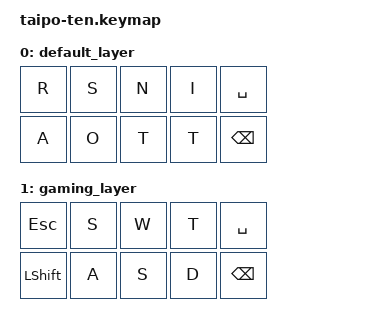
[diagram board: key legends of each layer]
#include <dt-bindings/zmk/keys.h>
#include <dt-bindings/zmk/bt.h>
#include <dt-bindings/zmk/outputs.h>
#include <dt-bindings/zmk/backlight.h>
#include <dt-bindings/zmk/behaviors.h>

/ {
    keymap {
        compatible = "zmk,keymap";

        default_layer {
            bindings = <
                &kp R       &kp S       &kp N       &kp I       &kp SPACE
                &kp A       &kp O       &kp T       &kp T       &kp BACKSPACE
            >;
        };

        gaming_layer {
            bindings = <
                &kp ESC     &kp S       &kp W       &kp T       &kp SPACE
                &kp LSHFT   &kp A       &kp S       &kp D       &kp BACKSPACE
            >;
        };
    };

    combos {
        compatible = "zmk,combos";

        // Alphas
        combo_a {
            bindings = <&kp A>;
            key-positions = <5>; // Position of 'a'
        };
        combo_b {
            bindings = <&kp B>;
            key-positions = <0 1>; // r + s
            #ifdef COMBO_HOLD_PRIORITY
            priority = COMBO_HOLD_PRIORITY; // Adjust if needed
            #endif
        };
        combo_c {
            bindings = <&kp C>;
            key-positions = <6 7>; // o + t (o + e from your description, assuming 't' is 'e')
            #ifdef COMBO_HOLD_PRIORITY
            priority = COMBO_HOLD_PRIORITY;
            #endif
        };
        combo_d {
            bindings = <&kp D>;
            key-positions = <5 7>; // a + t (a + e from your description, assuming 't' is 'e')
            #ifdef COMBO_HOLD_PRIORITY
            priority = COMBO_HOLD_PRIORITY;
            #endif
        };
        combo_e {
            bindings = <&kp E>;
            key-positions = <7>; // Position of 't' (e)
        };
        combo_f {
            bindings = <&kp F>;
            key-positions = <1 3>; // s + i
            #ifdef COMBO_HOLD_PRIORITY
            priority = COMBO_HOLD_PRIORITY;
            #endif
        };
        combo_g {
            bindings = <&kp G>;
            key-positions = <0 3>; // r + i
            #ifdef COMBO_HOLD_PRIORITY
            priority = COMBO_HOLD_PRIORITY;
            #endif
        };
        combo_h {
            bindings = <&kp H>;
            key-positions = <7 7>; // t + t (t + e) - assuming 't' at pos 7 is 'e'
            #ifdef COMBO_HOLD_PRIORITY
            priority = COMBO_HOLD_PRIORITY;
            #endif
        };
        combo_i {
            bindings = <&kp I>;
            key-positions = <3>; // Position of 'i'
        };
        combo_j {
            bindings = <&kp J>;
            key-positions = <5 2>; // a + n
            #ifdef COMBO_HOLD_PRIORITY
            priority = COMBO_HOLD_PRIORITY;
            #endif
        };
        combo_k {
            bindings = <&kp K>;
            key-positions = <6 3>; // o + i
            #ifdef COMBO_HOLD_PRIORITY
            priority = COMBO_HOLD_PRIORITY;
            #endif
        };
        combo_l {
            bindings = <&kp L>;
            key-positions = <5 6>; // a + o
            #ifdef COMBO_HOLD_PRIORITY
            priority = COMBO_HOLD_PRIORITY;
            #endif
        };
        combo_m {
            bindings = <&kp M>;
            key-positions = <0 7>; // r + t (r + e)
            #ifdef COMBO_HOLD_PRIORITY
            priority = COMBO_HOLD_PRIORITY;
            #endif
        };
        combo_n {
            bindings = <&kp N>;
            key-positions = <2>; // Position of 'n'
        };
        combo_o {
            bindings = <&kp O>;
            key-positions = <6>; // Position of 'o'
        };
        combo_p {
            bindings = <&kp P>;
            key-positions = <1 2>; // s + n
            #ifdef COMBO_HOLD_PRIORITY
            priority = COMBO_HOLD_PRIORITY;
            #endif
        };
        combo_q {
            bindings = <&kp Q>;
            key-positions = <5 7>; // a + t
            #ifdef COMBO_HOLD_PRIORITY
            priority = COMBO_HOLD_PRIORITY;
            #endif
        };
        combo_r {
            bindings = <&kp R>;
            key-positions = <0>; // Position of 'r'
        };
        combo_s {
            bindings = <&kp S>;
            key-positions = <1>; // Position of 's'
        };
        combo_t {
            bindings = <&kp T>;
            key-positions = <7>; // Position of 't'
        };
        combo_u {
            bindings = <&kp U>;
            key-positions = <6 7>; // o + t
            #ifdef COMBO_HOLD_PRIORITY
            priority = COMBO_HOLD_PRIORITY;
            #endif
        };
        combo_v {
            bindings = <&kp V>;
            key-positions = <1 7>; // s + t (s + e)
            #ifdef COMBO_HOLD_PRIORITY
            priority = COMBO_HOLD_PRIORITY;
            #endif
        };
        combo_w {
            bindings = <&kp W>;
            key-positions = <5 3>; // a + i
            #ifdef COMBO_HOLD_PRIORITY
            priority = COMBO_HOLD_PRIORITY;
            #endif
        };
        combo_x {
            bindings = <&kp X>;
            key-positions = <0 7>; // r + t
            #ifdef COMBO_HOLD_PRIORITY
            priority = COMBO_HOLD_PRIORITY;
            #endif
        };
        combo_y {
            bindings = <&kp Y>;
            key-positions = <2 3>; // n + i
            #ifdef COMBO_HOLD_PRIORITY
            priority = COMBO_HOLD_PRIORITY;
            #endif
        };
        combo_z {
            bindings = <&kp Z>;
            key-positions = <0 2>; // r + n
            #ifdef COMBO_HOLD_PRIORITY
            priority = COMBO_HOLD_PRIORITY;
            #endif
        };

        // Numbers (0-9)
        combo_0 {
            bindings = <&kp N0>;
            key-positions = <7 6 4>; // t (e) + o + space
            #ifdef COMBO_HOLD_PRIORITY
            priority = COMBO_HOLD_PRIORITY;
            #endif
        };
        combo_1 {
            bindings = <&kp N1>;
            key-positions = <7 6 4>; // t (e) + o + space
            #ifdef COMBO_HOLD_PRIORITY
            priority = COMBO_HOLD_PRIORITY;
            #endif
        };
        combo_2 {
            bindings = <&kp N2>;
            key-positions = <7 6 4>; // t + o + space
            #ifdef COMBO_HOLD_PRIORITY
            priority = COMBO_HOLD_PRIORITY;
            #endif
        };
        combo_3 {
            bindings = <&kp N3>;
            key-positions = <7 5 4>; // t + a + space
            #ifdef COMBO_HOLD_PRIORITY
            priority = COMBO_HOLD_PRIORITY;
            #endif
        };
        combo_4 {
            bindings = <&kp N4>;
            key-positions = <6 5 4>; // o + a + space
            #ifdef COMBO_HOLD_PRIORITY
            priority = COMBO_HOLD_PRIORITY;
            #endif
        };
        combo_5 {
            bindings = <&kp N5>;
            key-positions = <3 2 4>; // i + n + space
            #ifdef COMBO_HOLD_PRIORITY
            priority = COMBO_HOLD_PRIORITY;
            #endif
        };
        combo_6 {
            bindings = <&kp N6>;
            key-positions = <3 1 4>; // i + s + space
            #ifdef COMBO_HOLD_PRIORITY
            priority = COMBO_HOLD_PRIORITY;
            #endif
        };
        combo_7 {
            bindings = <&kp N7>;
            key-positions = <2 1 4>; // n + s + space
            #ifdef COMBO_HOLD_PRIORITY
            priority = COMBO_HOLD_PRIORITY;
            #endif
        };
        combo_8 {
            bindings = <&kp N8>;
            key-positions = <2 0 4>; // n + r + space
            #ifdef COMBO_HOLD_PRIORITY
            priority = COMBO_HOLD_PRIORITY;
            #endif
        };
        combo_9 {
            bindings = <&kp N9>;
            key-positions = <1 0 4>; // s + r + space
            #ifdef COMBO_HOLD_PRIORITY
            priority = COMBO_HOLD_PRIORITY;
            #endif
        };

        // Parentheses and Brackets
        combo_paren_open {
            bindings = <&kp LPAR>;
            key-positions = <7 9>; // t (e) + backspace
            #ifdef COMBO_HOLD_PRIORITY
            priority = COMBO_HOLD_PRIORITY;
            #endif
        };
        combo_paren_close {
            bindings = <&kp RPAR>;
            key-positions = <3 9>; // i + backspace
            #ifdef COMBO_HOLD_PRIORITY
            priority = COMBO_HOLD_PRIORITY;
            #endif
        };
        combo_sq_open {
            bindings = <&kp LBKT>;
            key-positions = <7 9>; // t + backspace
            #ifdef COMBO_HOLD_PRIORITY
            priority = COMBO_HOLD_PRIORITY;
            #endif
        };
        combo_sq_close {
            bindings = <&kp RBKT>;
            key-positions = <2 9>; // n + backspace
            #ifdef COMBO_HOLD_PRIORITY
            priority = COMBO_HOLD_PRIORITY;
            #endif
        };
        combo_curly_open {
            bindings = <&kp LBRC>;
            key-positions = <6 9>; // o + backspace
            #ifdef COMBO_HOLD_PRIORITY
            priority = COMBO_HOLD_PRIORITY;
            #endif
        };
        combo_curly_close {
            bindings = <&kp RBRC>;
            key-positions = <1 9>; // s + backspace
            #ifdef COMBO_HOLD_PRIORITY
            priority = COMBO_HOLD_PRIORITY;
            #endif
        };
        combo_lt {
            bindings = <&kp LT>;
            key-positions = <5 9>; // a + backspace
            #ifdef COMBO_HOLD_PRIORITY
            priority = COMBO_HOLD_PRIORITY;
            #endif
        };
        combo_gt {
            bindings = <&kp GT>;
            key-positions = <0 9>; // r + backspace
            #ifdef COMBO_HOLD_PRIORITY
            priority = COMBO_HOLD_PRIORITY;
            #endif
        };

        // Symbols
        combo_hash {
            bindings = <&kp HASH>;
            key-positions = <0 3 9>; // r + i + backspace
            #ifdef COMBO_HOLD_PRIORITY
            priority = COMBO_HOLD_PRIORITY;
            #endif
        };
        combo_caret {
            bindings = <&kp CARET>;
            key-positions = <0 7 9>; // r + t + backspace
            #ifdef COMBO_HOLD_PRIORITY
            priority = COMBO_HOLD_PRIORITY;
            #endif
        };
        combo_asterisk {
            bindings = <&kp ASTERISK>;
            key-positions = <5 2 9>; // a + n + backspace
            #ifdef COMBO_HOLD_PRIORITY
            priority = COMBO_HOLD_PRIORITY;
            #endif
        };
        combo_dollar {
            bindings = <&kp DLLR>;
            key-positions = <0 7 9>; // r + t (e) + backspace
            #ifdef COMBO_HOLD_PRIORITY
            priority = COMBO_HOLD_PRIORITY;
            #endif
        };
        combo_bslash {
            bindings = <&kp BSLASH>;
            key-positions = <6 3 4>; // o + i + space
            #ifdef COMBO_HOLD_PRIORITY
            priority = COMBO_HOLD_PRIORITY;
            #endif
        };
        combo_pipe {
            bindings = <&kp PIPE>;
            key-positions = <6 3 9>; // o + i + backspace
            #ifdef COMBO_HOLD_PRIORITY
            priority = COMBO_HOLD_PRIORITY;
            #endif
        };
        combo_fslash {
            bindings = <&kp FSLH>;
            key-positions = <6 3>; // o + i
            #ifdef COMBO_HOLD_PRIORITY
            priority = COMBO_HOLD_PRIORITY;
            #endif
        };
        combo_colon {
            bindings = <&kp COLON>;
            key-positions = <0 6>; // r + o
            #ifdef COMBO_HOLD_PRIORITY
            priority = COMBO_HOLD_PRIORITY;
            #endif
        };
        combo_semicolon {
            bindings = <&kp SEMICOLON>;
            key-positions = <0 6 4>; // r + o + space
            #ifdef COMBO_HOLD_PRIORITY
            priority = COMBO_HOLD_PRIORITY;
            #endif
        };
        combo_comma {
            bindings = <&kp COMMA>;
            key-positions = <2 7>; // n + t (e)
            #ifdef COMBO_HOLD_PRIORITY
            priority = COMBO_HOLD_PRIORITY;
            #endif
        };
        combo_period {
            bindings = <&kp DOT>;
            key-positions = <2 7 4>; // n + t (e) + space
            #ifdef COMBO_HOLD_PRIORITY
            priority = COMBO_HOLD_PRIORITY;
            #endif
        };
        combo_tilde {
            bindings = <&kp TILDE>;
            key-positions = <2 7 9>; // n + t (e) + backspace
            #ifdef COMBO_HOLD_PRIORITY
            priority = COMBO_HOLD_PRIORITY;
            #endif
        };
        combo_at {
            bindings = <&kp AT>;
            key-positions = <5 7 9>; // a + t (e) + backspace
            #ifdef COMBO_HOLD_PRIORITY
            priority = COMBO_HOLD_PRIORITY;
            #endif
        };
        combo_plus {
            bindings = <&kp PLUS>;
            key-positions = <6 3 9>; // o + i + backspace
            #ifdef COMBO_HOLD_PRIORITY
            priority = COMBO_HOLD_PRIORITY;
            #endif
        };
        combo_equal {
            bindings = <&kp EQUAL>;
            key-positions = <5 2 9>; // a + n + backspace
            #ifdef COMBO_HOLD_PRIORITY
            priority = COMBO_HOLD_PRIORITY;
            #endif
        };
        combo_ampersand {
            bindings = <&kp AMPS>;
            key-positions = <5 3 9>; // a + i + backspace
            #ifdef COMBO_HOLD_PRIORITY
            priority = COMBO_HOLD_PRIORITY;
            #endif
        };
        combo_minus {
            bindings = <&kp MINUS>;
            key-positions = <6 2>; // o + n
            #ifdef COMBO_HOLD_PRIORITY
            priority = COMBO_HOLD_PRIORITY;
            #endif
        };
        combo_underscore {
            bindings = <&kp UNDER>;
            key-positions = <6 2 4>; // o + n + space
            #ifdef COMBO_HOLD_PRIORITY
            priority = COMBO_HOLD_PRIORITY;
            #endif
        };
        combo_percent {
            bindings = <&kp PERCENT>;
            key-positions = <6 2 9>; // o + n + backspace
            #ifdef COMBO_HOLD_PRIORITY
            priority = COMBO_HOLD_PRIORITY;
            #endif
        };
        combo_qmark {
            bindings = <&kp QMARK>;
            key-positions = <7 3>; // t + i
            #ifdef COMBO_HOLD_PRIORITY
            priority = COMBO_HOLD_PRIORITY;
            #endif
        };
        combo_exclam {
            bindings = <&kp EXCLAMATION>;
            key-positions = <7 3 4>; // t + i + space
            #ifdef COMBO_HOLD_PRIORITY
            priority = COMBO_HOLD_PRIORITY;
            #endif
        };
        combo_squote {
            bindings = <&kp SQT>;
            key-positions = <5 1>; // a + s
            #ifdef COMBO_HOLD_PRIORITY
            priority = COMBO_HOLD_PRIORITY;
            #endif
        };
        combo_dquote {
            bindings = <&kp DQT>;
            key-positions = <5 1 4>; // a + s + space
            #ifdef COMBO_HOLD_PRIORITY
            priority = COMBO_HOLD_PRIORITY;
            #endif
        };
        combo_bquote {
            bindings = <&kp GRAVE>;
            key-positions = <5 1 9>; // a + s + backspace
            #ifdef COMBO_HOLD_PRIORITY
            priority = COMBO_HOLD_PRIORITY;
            #endif
        };

        // Navigation & Special Keys
        combo_tab {
            bindings = <&kp TAB>;
            key-positions = <1 2 3>; // s + n + i
            #ifdef COMBO_HOLD_PRIORITY
            priority = COMBO_HOLD_PRIORITY;
            #endif
        };
        combo_enter {
            bindings = <&kp RET>;
            key-positions = <6 7 7>; // o + t + t (e)
            #ifdef COMBO_HOLD_PRIORITY
            priority = COMBO_HOLD_PRIORITY;
            #endif
        };
        combo_esc {
            bindings = <&kp ESC>;
            key-positions = <6 7 7 4>; // o + t + t (e) + space
            #ifdef COMBO_HOLD_PRIORITY
            priority = COMBO_HOLD_PRIORITY;
            #endif
        };
        combo_left {
            bindings = <&kp LEFT>;
            key-positions = <6 4>; // o + space
            #ifdef COMBO_HOLD_PRIORITY
            priority = COMBO_HOLD_PRIORITY;
            #endif
        };
        combo_up {
            bindings = <&kp UP>;
            key-positions = <2 4>; // n + space
            #ifdef COMBO_HOLD_PRIORITY
            priority = COMBO_HOLD_PRIORITY;
            #endif
        };
        combo_right {
            bindings = <&kp RIGHT>;
            key-positions = <7 4>; // t (e) + space
            #ifdef COMBO_HOLD_PRIORITY
            priority = COMBO_HOLD_PRIORITY;
            #endif
        };
        combo_down {
            bindings = <&kp DOWN>;
            key-positions = <7 4>; // t + space
            #ifdef COMBO_HOLD_PRIORITY
            priority = COMBO_HOLD_PRIORITY;
            #endif
        };
        combo_layer_switch {
            bindings = <&tog 1>; // Toggle to gaming_layer (layer 1)
            key-positions = <0 1 2 3>; // r + s + n + i
            #ifdef COMBO_HOLD_PRIORITY
            priority = COMBO_HOLD_PRIORITY;
            #endif
        };

        // One-Shot Keys
        one_shot_gui {
            bindings = <&os LWIN>;
            key-positions = <7 3>; // t (e) + i
            timeout-ms = <1500>; // Adjust as needed
            #ifdef COMBO_HOLD_PRIORITY
            priority = COMBO_HOLD_PRIORITY;
            #endif
        };
        one_shot_ctrl {
            bindings = <&os LCTRL>;
            key-positions = <7 2>; // t + n
            timeout-ms = <1500>;
            #ifdef COMBO_HOLD_PRIORITY
            priority = COMBO_HOLD_PRIORITY;
            #endif
        };
        one_shot_alt {
            bindings = <&os LALT>;
            key-positions = <6 1>; // o + s
            timeout-ms = <1500>;
            #ifdef COMBO_HOLD_PRIORITY
            priority = COMBO_HOLD_PRIORITY;
            #endif
        };
        one_shot_shift {
            bindings = <&os LSHFT>;
            key-positions = <5 0>; // a + r
            timeout-ms = <1500>;
            #ifdef COMBO_HOLD_PRIORITY
            priority = COMBO_HOLD_PRIORITY;
            #endif
        };
        one_shot_del {
            bindings = <&os DEL>;
            key-positions = <1 2 3 4>; // s + n + i + space
            timeout-ms = <1500>;
            #ifdef COMBO_HOLD_PRIORITY
            priority = COMBO_HOLD_PRIORITY;
            #endif
        };
        one_shot_fn {
            bindings = <&os F24>; // Placeholder for a generic FN key, adjust as needed
            key-positions = <1 2 3 9>; // s + n + i + backspace
            timeout-ms = <1500>;
            #ifdef COMBO_HOLD_PRIORITY
            priority = COMBO_HOLD_PRIORITY;
            #endif
        };
        // MACRO 0-9: This is complex. ZMK does not have a direct "macro" key like some firmwares.
        // You would typically define individual macros using &macro_tap or &macro_press/&macro_release
        // and then bind them to a combo. For simplicity, I'm just putting a placeholder.
        // You would need to define 10 separate macros (e.g., &macro_0, &macro_1, etc.)
        one_shot_macro {
            bindings = <&none>; // Placeholder for macro functionality.
            // You would replace this with actual macro definitions, e.g., &macro_send MACRO_0_SEQ
            key-positions = <5 6 7 7>; // a + o + t + t (e)
            timeout-ms = <1500>;
            #ifdef COMBO_HOLD_PRIORITY
            priority = COMBO_HOLD_PRIORITY;
            #endif
        };
    };
};

/ {
    behaviors {
        // Define one-shot behavior
        os: os {
            compatible = "zmk,behavior-hold-tap";
            label = "ONE_SHOT";
            bindings = <&kp>, <&kp>;
            flavor = "tap-preferred";
            hold-timeout-ms = <300>; // Time to hold for sticky behavior
            tap-dance-timeout-ms = <150>; // Not directly used here, but good practice
        };
    };
};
